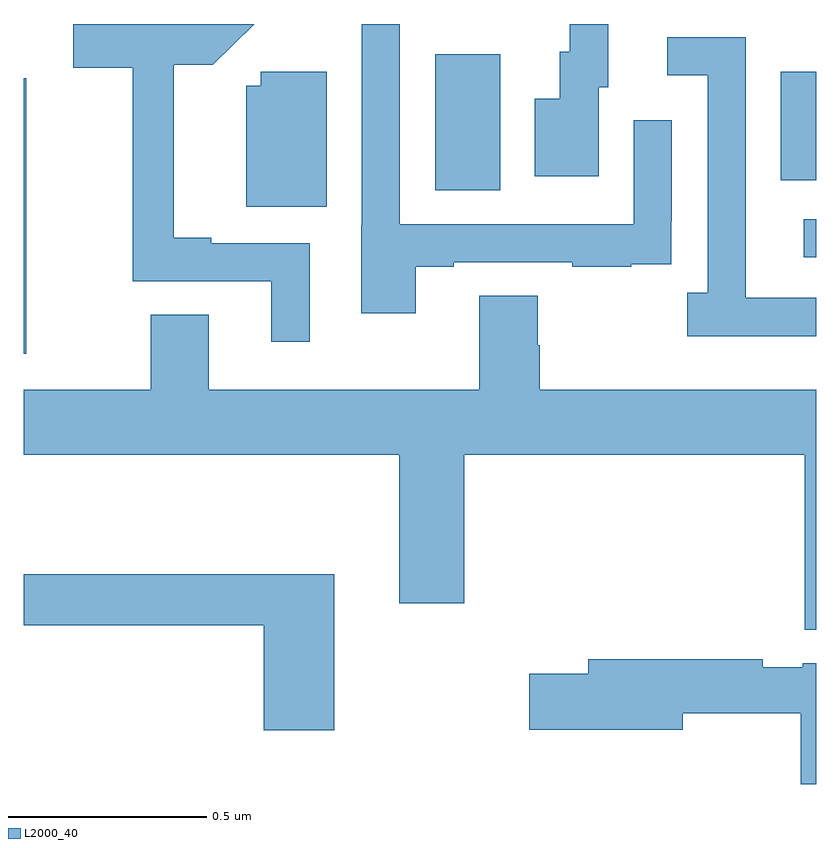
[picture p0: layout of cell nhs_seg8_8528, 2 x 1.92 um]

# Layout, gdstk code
import gdstk
lib = gdstk.Library(unit=1e-6, precision=1e-09)
def R(c, l, rs):  # rectangles x0, y0, x1, y1
    for r in rs: c.add(gdstk.rectangle(r[:2], r[2:], *l))
def P(c, l, *ps):  # polygons
    for p in ps: c.add(gdstk.Polygon(p, *l))
L2000_40 = (2000, 40)

nhs_seg8_8528 = lib.new_cell('nhs_seg8_8528')
R(nhs_seg8_8528, L2000_40, [(224,1138.068,224.006,1138.763), (225.969,1138.311,226,1138.407), (225.038,1138.48,225.202,1138.824), (225.911,1138.505,226,1138.78)])
P(nhs_seg8_8528, L2000_40, [(225.451,1138.74),(225.475,1138.74),(225.475,1138.9),(225.378,1138.9),(225.378,1138.83),(225.353,1138.83),(225.353,1138.711),(225.29,1138.711),(225.29,1138.515),(225.451,1138.515)],
  [(224.722,1138.347),(224.473,1138.347),(224.473,1138.36),(224.378,1138.36),(224.378,1138.797),(224.477,1138.797),(224.581,1138.9),(224.124,1138.9),(224.124,1138.789),(224.275,1138.789),(224.275,1138.251),(224.624,1138.251),(224.624,1138.098),(224.722,1138.098)],
  [(224.989,1138.287),(225.085,1138.287),(225.085,1138.299),(225.385,1138.299),(225.385,1138.287),(225.533,1138.287),(225.533,1138.293),(225.635,1138.293),(225.635,1138.402),(225.636,1138.402),(225.636,1138.657),(225.54,1138.657),(225.54,1138.395),(224.949,1138.395),(224.949,1138.9),(224.853,1138.9),(224.853,1138.392),(224.852,1138.392),(224.852,1138.17),(224.989,1138.17)],
  [(226,1138.209),(225.823,1138.209),(225.823,1138.409),(225.822,1138.409),(225.822,1138.866),(225.624,1138.866),(225.624,1138.77),(225.726,1138.77),(225.726,1138.222),(225.675,1138.222),(225.675,1138.112),(226,1138.112)],
  [(224.764,1138.78),(224.598,1138.78),(224.598,1138.744),(224.561,1138.744),(224.561,1138.439),(224.764,1138.439)],
  [(226,1137.976),(225.302,1137.976),(225.302,1138.089),(225.297,1138.089),(225.297,1138.214),(225.149,1138.214),(225.149,1137.976),(224.467,1137.976),(224.467,1138.166),(224.32,1138.166),(224.32,1137.976),(224,1137.976),(224,1137.812),(224.948,1137.812),(224.948,1137.438),(225.112,1137.438),(225.112,1137.812),(225.971,1137.812),(225.971,1137.371),(226,1137.371)],
  [(224.784,1137.511),(224,1137.511),(224,1137.382),(224.606,1137.382),(224.606,1137.117),(224.784,1137.117)],
  [(226,1137.286),(225.966,1137.286),(225.966,1137.276),(225.866,1137.276),(225.866,1137.296),(225.425,1137.296),(225.425,1137.26),(225.276,1137.26),(225.276,1137.118),(225.664,1137.118),(225.664,1137.16),(225.962,1137.16),(225.962,1136.981),(226,1136.981)])

lib.write_gds('nhs_seg8_8528.gds')
